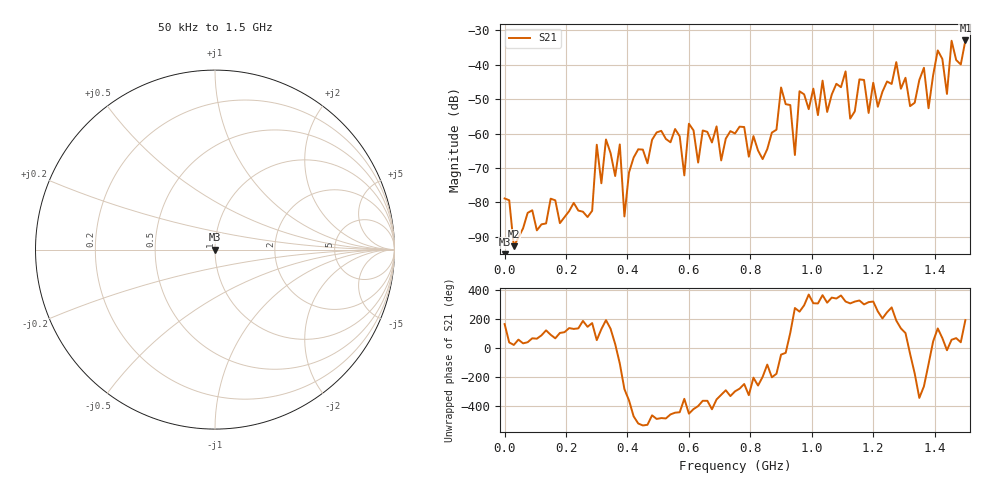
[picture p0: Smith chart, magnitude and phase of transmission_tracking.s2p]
! Created with skrf 1.8.0 (http://scikit-rf.org).
# Hz S RI R 50.0
!freq ReS11 ImS11 ReS21 ImS21 ReS12 ImS12 ReS22 ImS22
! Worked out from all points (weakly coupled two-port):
!   101 points, 50 kHz to 1.5 GHz, reference 50 ohm
!   highest |S21| = -32.91 dB at 1.5 GHz (marker M1); lowest = -92.7 dB at 30.05 MHz (marker M2)
!   lowest |S11| = - dB at 50 kHz (marker M3), VSWR 1.00, Z = 50 + j0 ohm
!   |S11| at or under -10 dB: start of sweep to end of sweep
!   S12 and S22 are empty: the file has one direction only
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50000  0 0  -0.00011 3.15e-05  0 0  0 0
3.0049e7  0 0  2.16e-05 8.21e-06  0 0  0 0
2.550415e8  0 0  -7.3e-05 -7.28e-06  0 0  0 0
3.0004e8  0 0  0.000408 0.000556  0 0  0 0
3.150395e8  0 0  -0.00012 0.000147  0 0  0 0
3.750375e8  0 0  -0.000202 -0.000667  0 0  0 0
3.90037e8  0 0  1.36e-05 6.12e-05  0 0  0 0
5.10033e8  0 0  -0.000567 -0.000941  0 0  0 0
5.850305e8  0 0  0.000243 4.7e-05  0 0  0 0
6.0003e8  0 0  -2.2e-05 -0.00139  0 0  0 0
7.50025e8  0 0  0.000469 0.00089  0 0  0 0
8.40022e8  0 0  -0.000405 0.000133  0 0  0 0
9.0002e8  0 0  0.00328 -0.00335  0 0  0 0
9.450185e8  0 0  3.64e-05 -0.000488  0 0  0 0
9.60018e8  0 0  -0.00147 -0.00386  0 0  0 0
1.005016e9  0 0  0.00271 -0.00361  0 0  0 0
1.260008e9  0 0  0.000768 -0.00522  0 0  0 0
1.380004e9  0 0  -0.000858 -0.00218  0 0  0 0
1.410003e9  0 0  -0.0113 0.0116  0 0  0 0
1.440002e9  0 0  0.00364 -0.00101  0 0  0 0
1.455002e9  0 0  0.0125 0.0186  0 0  0 0
1.5e9  0 0  -0.0222 -0.0045  0 0  0 0
